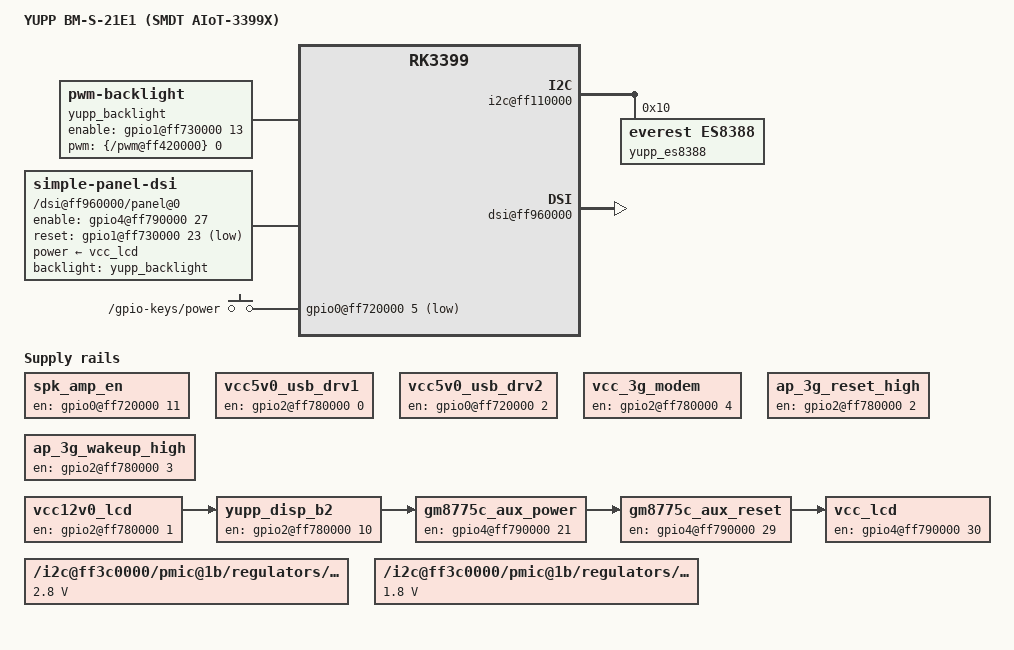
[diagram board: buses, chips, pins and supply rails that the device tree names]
// SPDX-License-Identifier: (GPL-2.0+ OR MIT)
/*
 * The YUPP BM-S-21E1 mirror (SMDT AIoT-3399X) on Radxa's Rock Pi 4B
 * Android 11 (Rockchip BSP 4.19).
 *
 * A delta on Radxa's own Rock Pi 4B device tree, decompiled from the boot
 * image of Rock4b-android11-20220819 (rockpi4b.dts, not in any public kernel
 * tree), so the Radxa vendor partition sees the tree it was built for. The
 * changes are those of the Armbian board (armbian-yupp-aiot3399x,
 * rk3399-yupp-aiot3399x.dts, a delta on rock-pi-4b verified on this board),
 * in the 4.19 BSP's bindings, with the display and the codec taken from the
 * mirror's own Android 7.1.2 device tree (eMMC dump 2026-05-22, resource
 * partition, rk-kernel.dtb).
 *
 * Plain dtc, no preprocessor: existing nodes are reached by path, GPIOs are
 * <controller pin flags> with pin = bank letter * 8 + number (A=0 .. D=3)
 * and flags 0 = active high, 1 = active low.
 *
 * Never enable i2c8 (ff3e0000): on this board it bricks boot. Radxa's tree
 * leaves it disabled and so does this one.
 */

/include/ "rockpi4b.dts"

/ {
	model = "YUPP BM-S-21E1 (SMDT AIoT-3399X)";
	compatible = "smdt,aiot-3399x", "rockchip,rockpi", "rockchip,rk3399";

	/* GPIO0_B3: the speaker amplifier (vendor SPK_CLT, Armbian spk_amp). */
	regulator-spk-amp {
		compatible = "regulator-fixed";
		regulator-name = "spk_amp_en";
		gpio = <&{/pinctrl/gpio0@ff720000} 11 0>;
		enable-active-high;
		regulator-always-on;
		regulator-boot-on;
	};

	/* USB port power, GPIO2_A0 and GPIO0_A2. */
	regulator-vcc5v0-usb-drv1 {
		compatible = "regulator-fixed";
		regulator-name = "vcc5v0_usb_drv1";
		gpio = <&{/pinctrl/gpio2@ff780000} 0 0>;
		enable-active-high;
		regulator-always-on;
		regulator-boot-on;
	};

	regulator-vcc5v0-usb-drv2 {
		compatible = "regulator-fixed";
		regulator-name = "vcc5v0_usb_drv2";
		gpio = <&{/pinctrl/gpio0@ff720000} 2 0>;
		enable-active-high;
		regulator-always-on;
		regulator-boot-on;
	};

	/* The vendor's "3G modem" power, reset and wake lines, held as the
	 * vendor holds them (GPIO2_A4, GPIO2_A2, GPIO2_A3). */
	regulator-3g-pwren {
		compatible = "regulator-fixed";
		regulator-name = "vcc_3g_modem";
		gpio = <&{/pinctrl/gpio2@ff780000} 4 0>;
		enable-active-high;
		regulator-always-on;
		regulator-boot-on;
	};

	regulator-3g-reset-deassert {
		compatible = "regulator-fixed";
		regulator-name = "ap_3g_reset_high";
		gpio = <&{/pinctrl/gpio2@ff780000} 2 0>;
		enable-active-high;
		regulator-always-on;
		regulator-boot-on;
	};

	regulator-3g-wakeup {
		compatible = "regulator-fixed";
		regulator-name = "ap_3g_wakeup_high";
		gpio = <&{/pinctrl/gpio2@ff780000} 3 0>;
		enable-active-high;
		regulator-always-on;
		regulator-boot-on;
	};

	/*
	 * The display's rails, chained through vin-supply so they come up in
	 * order, each after its delay, and the panel (power-supply vcc_lcd) is
	 * prepared, its init sequence sent, only once all of them are up:
	 *   vcc12v0_lcd → yupp-display-b2 → gm8775c-aux-power →
	 *   gm8775c-aux-reset → vcc_lcd → panel
	 * From a cold start they are all low; in no particular order, the init
	 * sequence could reach the GM8775C before its aux rail, and it then
	 * shows its self test until a warm restart (when the previous kernel
	 * had left them high). Not regulator-boot-on: the core then switches
	 * each on itself and waits its startup delay.
	 */

	/* LVDS panel power, the vendor dsi node's lvds_panel_power-gpios
	 * (GPIO4_D6). */
	vcc_lcd: regulator-vcc-lcd {
		compatible = "regulator-fixed";
		regulator-name = "vcc_lcd";
		gpio = <&{/pinctrl/gpio4@ff790000} 30 0>;
		enable-active-high;
		regulator-always-on;
		startup-delay-us = <20000>;
		vin-supply = <&gm8775c_aux_reset>;
	};

	/* The panel and bridge's 12 V rail, the vendor dsi node's power-gpios
	 * (GPIO2_A1). */
	vcc12v0_lcd: regulator-vcc12v0-lcd {
		compatible = "regulator-fixed";
		regulator-name = "vcc12v0_lcd";
		gpio = <&{/pinctrl/gpio2@ff780000} 1 0>;
		enable-active-high;
		regulator-always-on;
		startup-delay-us = <100000>;
	};

	/* PWM0 with its enable on GPIO1_B5, as on the vendor board. */
	yupp_backlight: backlight {
		compatible = "pwm-backlight";
		pwms = <&{/pwm@ff420000} 0 5000000 0>;
		enable-gpios = <&{/pinctrl/gpio1@ff730000} 13 0>;
		brightness-levels = <
			  0   1   2   3   4   5   6   7   8   9  10  11  12  13  14  15
			 16  17  18  19  20  21  22  23  24  25  26  27  28  29  30  31
			 32  33  34  35  36  37  38  39  40  41  42  43  44  45  46  47
			 48  49  50  51  52  53  54  55  56  57  58  59  60  61  62  63
			 64  65  66  67  68  69  70  71  72  73  74  75  76  77  78  79
			 80  81  82  83  84  85  86  87  88  89  90  91  92  93  94  95
			 96  97  98  99 100 101 102 103 104 105 106 107 108 109 110 111
			112 113 114 115 116 117 118 119 120 121 122 123 124 125 126 127
			128 129 130 131 132 133 134 135 136 137 138 139 140 141 142 143
			144 145 146 147 148 149 150 151 152 153 154 155 156 157 158 159
			160 161 162 163 164 165 166 167 168 169 170 171 172 173 174 175
			176 177 178 179 180 181 182 183 184 185 186 187 188 189 190 191
			192 193 194 195 196 197 198 199 200 201 202 203 204 205 206 207
			208 209 210 211 212 213 214 215 216 217 218 219 220 221 222 223
			224 225 226 227 228 229 230 231 232 233 234 235 236 237 238 239
			240 241 242 243 244 245 246 247 248 249 250 251 252 253 254 255>;
		default-brightness-level = <200>;
	};

	/* The ES8388 on i2s0, as the vendor's es8388-sound card. */
	es8388-sound {
		compatible = "simple-audio-card";
		simple-audio-card,name = "rockchip,es8388-codec";
		simple-audio-card,format = "i2s";
		simple-audio-card,mclk-fs = <256>;
		status = "okay";

		simple-audio-card,cpu {
			sound-dai = <&{/i2s@ff880000}>;
			system-clock-frequency = <12288000>;
		};

		simple-audio-card,codec {
			sound-dai = <&yupp_es8388>;
			system-clock-frequency = <12288000>;
		};
	};
};

/* The mirror's two LEDs in place of the Rock Pi's: blue GPIO1_C2, red
 * GPIO1_A1. */
/delete-node/ &{/gpio-leds/user-led1};
/delete-node/ &{/gpio-leds/user-led2};

&{/gpio-leds} {
	blue {
		label = "yupp:blue";
		gpios = <&{/pinctrl/gpio1@ff730000} 18 0>;
		default-state = "on";
	};

	/* Bring-up: the red LED beats while the kernel runs, the only sign of
	 * life with no serial console, network or screen yet. */
	red {
		label = "yupp:red";
		gpios = <&{/pinctrl/gpio1@ff730000} 1 0>;
		linux,default-trigger = "heartbeat";
	};
};

/* ES8388 in place of the Rock Pi's ES8316, with the same MCLK. */
/delete-node/ &{/es8316-sound};
/delete-node/ &{/i2c@ff110000/es8316@11};

&{/i2c@ff110000} {
	yupp_es8388: es8388@10 {
		compatible = "everest,es8388";
		reg = <0x10>;
		clocks = <&{/clock-controller@ff760000} 89>;	/* SCLK_I2S_8CH_OUT */
		clock-names = "mclk";
		pinctrl-names = "default";
		pinctrl-0 = <&{/pinctrl/i2s0/i2s-8ch-mclk}>;
		#sound-dai-cells = <0>;
	};
};

/*
 * Display: VOP-B → DSI0 (4 lanes) → GM8775C DSI→LVDS bridge → 1080p60 LVDS
 * panel. The BSP's simple-panel-dsi sends the bridge's 35 writes, so the
 * vendor's node carries over almost as is: the vendor kernel read the
 * sequence from panel-init-sequence-gm8775c, chosen by mipi_type; the 4.19
 * BSP reads panel-init-sequence. The vendor's dsi-node GPIOs move to the
 * panel: enable GPIO4_D3, reset GPIO1_C7 (active low, held 10 ms), the two
 * power lines to the always-on regulators above. The writes are register
 * and value, sent as generic short writes with two parameters (0x23): the
 * BSP picks the data type from the length whatever the table says.
 *
 * What the bridge needs to lock (checked on the mirror, 2026-10-31; the
 * panel shows its white-red-green-blue self test while it has no LVDS):
 *  - dsi,flags 0xa43: the vendor's 0xa03 plus MIPI_DSI_MODE_VIDEO_HBP, so
 *    VID_MODE_CFG comes out 0x2f02 like the vendor U-Boot's (the HS clock
 *    runs through the horizontal back porch). 0xa03 gives 0x3f02, and the
 *    bridge drops the picture after a moment.
 *  - VOP-B, not VOP-L: the Radxa vendor's composer sends AFBC frames to the
 *    primary display, which only VOP-B decodes; on VOP-L every frame is
 *    refused ("not support afbdc") and the link idles.
 */
&{/dsi@ff960000} {
	/delete-property/ rockchip,dual-channel;
	/delete-property/ enable-gpios;
	status = "okay";
};

&{/dsi@ff960000/ports/port/endpoint@0} {	/* from VOP-B */
	status = "okay";
};

&{/dsi@ff960000/ports/port/endpoint@1} {	/* from VOP-L */
	status = "disabled";
};

/delete-node/ &{/dsi@ff960000/panel@0/display-timings};

&{/dsi@ff960000/panel@0} {
	compatible = "simple-panel-dsi";
	backlight = <&yupp_backlight>;
	power-supply = <&vcc_lcd>;
	enable-gpios = <&{/pinctrl/gpio4@ff790000} 27 0>;
	reset-gpios = <&{/pinctrl/gpio1@ff730000} 23 1>;
	prepare-delay-ms = <120>;
	reset-delay-ms = <10>;
	enable-delay-ms = <120>;
	init-delay-ms = <120>;
	bus-format = <0x100e>;		/* MEDIA_BUS_FMT_RGB888_1X24 */
	dsi,flags = <0xa43>;
	dsi,format = <0>;
	dsi,lanes = <4>;
	panel-init-sequence = [
		23 00 02 27 aa 23 00 02 48 02 23 00 02 b6 20 23 00 02 01 80
		23 00 02 02 38 23 00 02 03 47 23 00 02 04 a0 23 00 02 05 14
		23 00 02 06 64 23 00 02 07 00 23 00 02 08 0a 23 00 02 09 0a
		23 00 02 0a 19 23 00 02 0b 82 23 00 02 0c 13 23 00 02 0d 01
		23 00 02 0e 80 23 00 02 0f 20 23 00 02 10 20 23 00 02 11 03
		23 00 02 12 1b 23 00 02 13 63 23 00 02 14 01 23 00 02 15 23
		23 00 02 16 40 23 00 02 17 00 23 00 02 18 01 23 00 02 19 23
		23 00 02 1a 40 23 00 02 1b 00 23 00 02 1e 46 23 00 02 51 30
		23 00 02 1f 10 23 00 02 2a 01 23 00 02 27 55];

	display-timings {
		native-mode = <&yupp_timing>;

		yupp_timing: timing0 {
			clock-frequency = <148500000>;
			hactive = <1920>;
			vactive = <1080>;
			hback-porch = <100>;
			hsync-len = <20>;
			hfront-porch = <160>;
			vback-porch = <25>;
			vfront-porch = <10>;
			vsync-len = <10>;
			hsync-active = <0>;
			vsync-active = <0>;
			de-active = <0>;
			pixelclk-active = <0>;
		};
	};
};

/* The DSI is the only screen: no HDMI out on the mirror. */
&{/display-subsystem/route/route-dsi} {
	connect = <&{/vop@ff900000/port/endpoint@1}>;
	status = "okay";
};

&{/display-subsystem/route/route-hdmi} {
	status = "disabled";
};

/* DSI1, the Rock Pi's second channel: nothing hangs off it here, and a DSI
 * with no panel fails the whole display subsystem's bind. */
&{/dsi@ff968000} {
	status = "disabled";
};

&{/hdmi@ff940000} {
	status = "disabled";
};

/* yupp wires two rk808 LDOs differently from the Rock Pi 4 (Armbian, checked
 * against the vendor tree): LDO_REG2 is 2.8 V, LDO_REG7 1.8 V. */
&{/i2c@ff3c0000/pmic@1b/regulators/LDO_REG2} {
	regulator-name = "vcc2v8_dvp";
	regulator-min-microvolt = <2800000>;
	regulator-max-microvolt = <2800000>;
};

&{/i2c@ff3c0000/pmic@1b/regulators/LDO_REG7} {
	regulator-name = "vcca1v8_s3";
	regulator-min-microvolt = <1800000>;
	regulator-max-microvolt = <1800000>;
};

/* BCM4354 (AP6354): Radxa's tree is for an AP6256. Same power and wake
 * pins, except the BT wake line, GPIO2_D2 here (GPIO2_D3 on the Rock Pi). */
&{/wireless-wlan} {
	wifi_chip_type = "ap6354";
};

&{/wireless-bluetooth} {
	BT,wake_gpio = <&{/pinctrl/gpio2@ff780000} 26 0>;
};

/*
 * Radxa's tree uses pins the mirror wires elsewhere. Off:
 *  - i2c2: GPIO2_A0/A1 are USB power and the 12 V panel rail
 *  - MIPI camera 0 and ISP0: GPIO1_B5 is the backlight enable (the mirror's
 *    camera is UVC)
 *  - PCIe and its 3.3 V rail: GPIO2_D2 is the BT wake line, GPIO4_D3 the
 *    panel enable
 *  - SPI2: GPIO2_B2 belongs to the display path (hog below)
 */
&{/i2c@ff120000} {
	status = "disabled";
};

&{/i2c@ff3d0000/camera0-module@10} {
	status = "disabled";
};

&{/rkisp1@ff910000} {
	status = "disabled";
};

&{/pcie@f8000000} {
	status = "disabled";
};

&{/vcc3v3-pcie-regulator} {
	status = "disabled";
};

&{/spi@ff1e0000} {
	status = "disabled";
};

/* What the vendor U-Boot drives high at boot; the display dies within a
 * minute without them (Armbian, u-boot regdump 2026-07-14). GPIO4_C5/D5 are
 * the vendor tree's edptolvds power and reset, which feed the GM8775C's
 * LVDS side on this board. Always-on fixed regulators, not gpio-hogs: in
 * this 4.19 BSP a hog is requested before pinctrl is up, defers (-517), and
 * takes its whole bank down with it (gpio2 and gpio4 never register, and with
 * them the panel, USB and GPU supplies). */
/ {
	yupp_disp_b2: regulator-yupp-disp-b2 {
		compatible = "regulator-fixed";
		regulator-name = "yupp-display-b2";
		gpio = <&{/pinctrl/gpio2@ff780000} 10 0>;
		enable-active-high;
		regulator-always-on;
		startup-delay-us = <10000>;
		vin-supply = <&vcc12v0_lcd>;
	};

	gm8775c_aux_power: regulator-gm8775c-aux-power {
		compatible = "regulator-fixed";
		regulator-name = "gm8775c-aux-power";
		gpio = <&{/pinctrl/gpio4@ff790000} 21 0>;
		enable-active-high;
		regulator-always-on;
		startup-delay-us = <20000>;
		vin-supply = <&yupp_disp_b2>;
	};

	gm8775c_aux_reset: regulator-gm8775c-aux-reset {
		compatible = "regulator-fixed";
		regulator-name = "gm8775c-aux-reset";
		gpio = <&{/pinctrl/gpio4@ff790000} 29 0>;
		enable-active-high;
		regulator-always-on;
		startup-delay-us = <20000>;
		vin-supply = <&gm8775c_aux_power>;
	};
};

/* The power button, the top one: GPIO0_A5, active low, as in the vendor tree
 * (rockchip-key/power-key). The Rock Pi's is GPIO4_D2. */
&{/pinctrl/buttons/pwrbtn} {
	rockchip,pins = <0 5 0 &{/pinctrl/pcfg-pull-up}>;
};

&{/gpio-keys/power} {
	gpios = <&{/pinctrl/gpio0@ff720000} 5 1>;
};

/* i2c7 carries the XR20M1172 (0x30) whose GPIOs are the buttons; it stays
 * enabled as in Radxa's tree, with no child: a daemon reads the chip over
 * /dev/i2c-7, as yuppd does on Armbian. */
